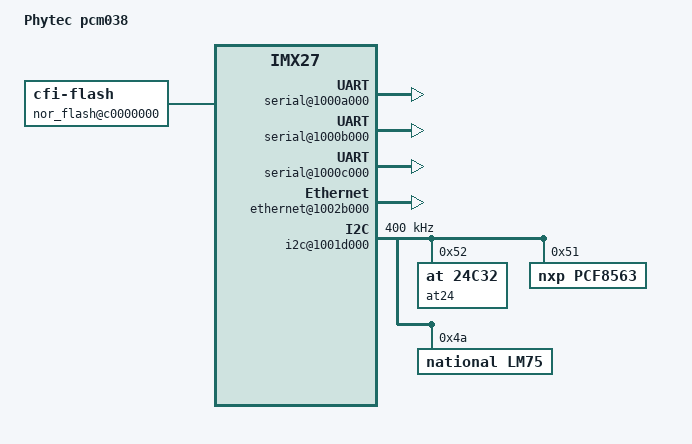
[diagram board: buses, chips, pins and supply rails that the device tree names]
/*
 * Copyright 2012 Sascha Hauer, Pengutronix
 *
 * The code contained herein is licensed under the GNU General Public
 * License. You may obtain a copy of the GNU General Public License
 * Version 2 or later at the following locations:
 *
 * http://www.opensource.org/licenses/gpl-license.html
 * http://www.gnu.org/copyleft/gpl.html
 */

/dts-v1/;
/include/ "imx27.dtsi"

/ {
	model = "Phytec pcm038";
	compatible = "phytec,imx27-pcm038", "fsl,imx27";

	memory {
		reg = <0x0 0x0>;
	};

	soc {
		aipi@10000000 { /* aipi */

			wdog@10002000 {
				status = "okay";
			};

			serial@1000a000 {
				fsl,uart-has-rtscts;
				status = "okay";
			};

			serial@1000b000 {
				fsl,uart-has-rtscts;
				status = "okay";
			};

			serial@1000c000 {
				fsl,uart-has-rtscts;
				status = "okay";
			};

			ethernet@1002b000 {
				status = "okay";
			};

			i2c@1001d000 {
				clock-frequency = <400000>;
				status = "okay";
				at24@4c {
					compatible = "at,24c32";
					pagesize = <32>;
					reg = <0x52>;
				};
				pcf8563@51 {
					compatible = "nxp,pcf8563";
					reg = <0x51>;
				};
				lm75@4a {
					compatible = "national,lm75";
					reg = <0x4a>;
				};
			};
		};
	};

	nor_flash@c0000000 {
		compatible = "cfi-flash";
		bank-width = <2>;
		reg = <0xc0000000 0x02000000>;
		#address-cells = <1>;
		#size-cells = <1>;
	};
};
